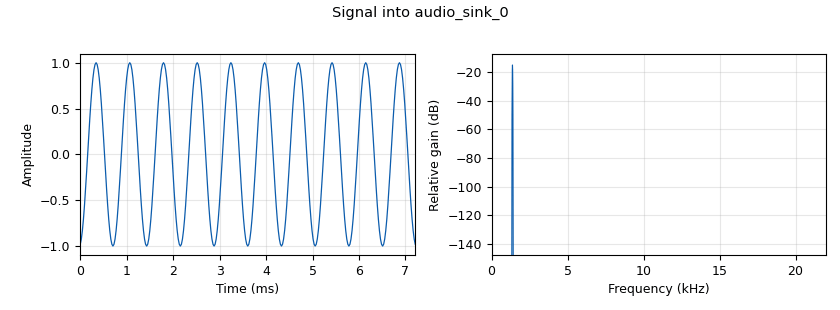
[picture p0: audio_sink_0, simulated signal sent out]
options:
  parameters:
    author: moi/lui
    generate_options: qt_gui
    id: tp2
    output_language: python
    title: tptelecom
  states: {}

blocks:
- name: samp_rate
  id: variable
  parameters:
    value: '32000'
  states: {}
- name: variable_qtgui_chooser_0
  id: variable_qtgui_chooser
  parameters:
    num_opts: '3'
    option0: '0'
    option1: '1'
    option2: '2'
    type: int
    value: '0'
  states: {}
- name: variable_qtgui_range_0
  id: variable_qtgui_range
  parameters:
    label: sample_rate
    start: '0'
    step: '1'
    stop: '20000'
    value: '10000'
  states: {}
- name: analog_sig_source_x_0
  id: analog_sig_source_x
  parameters:
    amp: '1'
    freq: '10000'
    offset: '0'
    phase: '0'
    samp_rate: samp_rate
    type: float
    waveform: analog.GR_COS_WAVE
  states: {state: disabled}
- name: analog_sig_source_x_0_0
  id: analog_sig_source_x
  parameters:
    amp: '0.5'
    freq: '100'
    offset: '0'
    phase: '0'
    samp_rate: samp_rate
    type: float
    waveform: analog.GR_COS_WAVE
  states: {state: disabled}
- name: analog_sig_source_x_0_1
  id: analog_sig_source_x
  parameters:
    amp: '1'
    freq: '10000'
    offset: '0'
    phase: '0'
    samp_rate: samp_rate
    type: float
    waveform: analog.GR_COS_WAVE
  states: {state: disabled}
- name: analog_sig_source_x_1
  id: analog_sig_source_x
  parameters:
    amp: '1'
    freq: '1000'
    offset: '0'
    phase: '0'
    samp_rate: samp_rate
    type: float
    waveform: analog.GR_COS_WAVE
  states: {}
- name: audio_sink_0
  id: audio_sink
  parameters:
    samp_rate: '44100'
  states: {}
- name: blocks_multiply_const_vxx_0
  id: blocks_multiply_const_vxx
  parameters:
    const: '1'
    type: float
  states: {}
- name: blocks_multiply_xx_0
  id: blocks_multiply_xx
  parameters:
    type: float
  states: {state: disabled}
- name: blocks_multiply_xx_0_0
  id: blocks_multiply_xx
  parameters:
    type: float
  states: {state: disabled}
- name: blocks_selector_0
  id: blocks_selector
  parameters:
    enabled: 'True'
    input_index: '0'
    num_inputs: '2'
    num_outputs: '2'
    output_index: '0'
    type: complex
  states: {}
- name: dc_blocker_xx_0
  id: dc_blocker_xx
  parameters:
    length: '32'
    long_form: 'True'
    type: ff
  states: {state: disabled}
- name: low_pass_filter_0
  id: low_pass_filter
  parameters:
    cutoff_freq: '200'
    decim: '1'
    gain: '1'
    samp_rate: samp_rate
    type: fir_filter_fff
    width: '1000'
    win: window.WIN_HAMMING
  states: {state: disabled}
- name: qtgui_time_sink_x_0
  id: qtgui_time_sink_x
  parameters:
    ctrlpanel: 'True'
    size: '1024'
    srate: samp_rate
    type: float
  states: {state: disabled}
- name: rational_resampler_xxx_0
  id: rational_resampler_xxx
  parameters:
    decim: '1'
    interp: '1'
    type: fff
  states: {}

connections:
- [analog_sig_source_x_0, '0', blocks_multiply_xx_0, '1']
- [analog_sig_source_x_0_0, '0', blocks_multiply_xx_0, '0']
- [analog_sig_source_x_0_1, '0', blocks_multiply_xx_0_0, '1']
- [analog_sig_source_x_1, '0', blocks_multiply_const_vxx_0, '0']
- [blocks_multiply_const_vxx_0, '0', rational_resampler_xxx_0, '0']
- [blocks_multiply_xx_0, '0', blocks_multiply_xx_0_0, '0']
- [blocks_multiply_xx_0_0, '0', dc_blocker_xx_0, '0']
- [dc_blocker_xx_0, '0', low_pass_filter_0, '0']
- [low_pass_filter_0, '0', qtgui_time_sink_x_0, '0']
- [rational_resampler_xxx_0, '0', audio_sink_0, '0']

metadata:
  file_format: 1
  grc_version: 3.10.5.1
